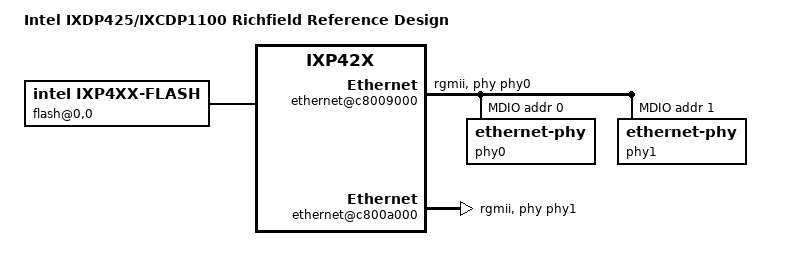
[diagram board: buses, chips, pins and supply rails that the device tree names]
// SPDX-License-Identifier: ISC
/*
 * Device Tree file for the Intel IXDP425 also known as IXCDP1100 Control Plane
 * processor reference design.
 *
 * This platform has the codename "Richfield".
 *
 * This machine is based on a 533 MHz IXP425.
 */

/dts-v1/;

#include "intel-ixp42x.dtsi"
#include "intel-ixp4xx-reference-design.dtsi"
#include <dt-bindings/input/input.h>

/ {
	model = "Intel IXDP425/IXCDP1100 Richfield Reference Design";
	compatible = "intel,ixdp425", "intel,ixp42x";
	#address-cells = <1>;
	#size-cells = <1>;

	soc {
		bus@c4000000 {
			flash@0,0 {
				compatible = "intel,ixp4xx-flash", "cfi-flash";
				bank-width = <2>;
				/* Enable writes on the expansion bus */
				intel,ixp4xx-eb-write-enable = <1>;
				/* 16 MB of Flash mapped in at CS0 */
				reg = <0 0x00000000 0x1000000>;

				partitions {
					compatible = "redboot-fis";
					/* Eraseblock at 0x0fe0000 */
					fis-index-block = <0x7f>;
				};
			};
		};

		/* EthB */
		ethernet@c8009000 {
			status = "ok";
			queue-rx = <&qmgr 3>;
			queue-txready = <&qmgr 20>;
			phy-mode = "rgmii";
			phy-handle = <&phy0>;

			mdio {
				#address-cells = <1>;
				#size-cells = <0>;

				phy0: ethernet-phy@0 {
					reg = <0>;
				};

				phy1: ethernet-phy@1 {
					reg = <1>;
				};
			};
		};

		/* EthC */
		ethernet@c800a000 {
			status = "ok";
			queue-rx = <&qmgr 4>;
			queue-txready = <&qmgr 21>;
			phy-mode = "rgmii";
			phy-handle = <&phy1>;
		};
	};
};
